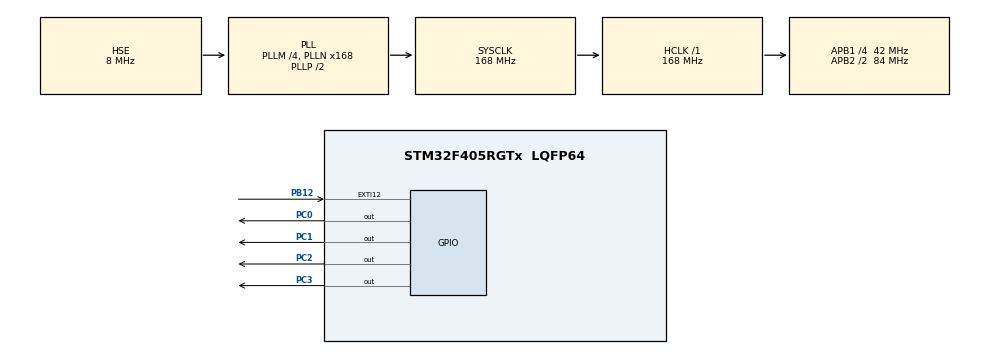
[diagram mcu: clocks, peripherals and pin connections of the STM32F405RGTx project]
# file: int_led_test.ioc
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Mcu.Family=STM32F4
Mcu.Name=STM32F405RGTx
Mcu.Package=LQFP64
NVIC.EXTI15_10_IRQn=true\:0\:0\:false\:false\:true\:true\:true
NVIC.PriorityGroup=NVIC_PRIORITYGROUP_4
PA13.Mode=Serial_Wire
PA13.Signal=SYS_JTMS-SWDIO
PA14.Mode=Serial_Wire
PA14.Signal=SYS_JTCK-SWCLK
PB12.Signal=GPXTI12
PC0.Signal=GPIO_Output
PC1.Signal=GPIO_Output
PC2.Signal=GPIO_Output
PC3.Signal=GPIO_Output
PH0-OSC_IN.Mode=HSE-External-Oscillator
PH0-OSC_IN.Signal=RCC_OSC_IN
PH1-OSC_OUT.Mode=HSE-External-Oscillator
PH1-OSC_OUT.Signal=RCC_OSC_OUT
ProjectManager.HeapSize=0x200
ProjectManager.StackSize=0x400
ProjectManager.TargetToolchain=EWARM V8.32
RCC.48MHZClocksFreq_Value=84000000
RCC.AHBFreq_Value=168000000
RCC.APB1CLKDivider=RCC_HCLK_DIV4
RCC.APB1Freq_Value=42000000
RCC.APB1TimFreq_Value=84000000
RCC.APB2CLKDivider=RCC_HCLK_DIV2
RCC.APB2Freq_Value=84000000
RCC.APB2TimFreq_Value=168000000
RCC.CortexFreq_Value=168000000
RCC.HCLKFreq_Value=168000000
RCC.HSE_VALUE=8000000
RCC.HSI_VALUE=16000000
RCC.LSE_VALUE=32768
RCC.PLLM=4
RCC.PLLN=168
RCC.PLLSourceVirtual=RCC_PLLSOURCE_HSE
RCC.SYSCLKFreq_VALUE=168000000
RCC.SYSCLKSource=RCC_SYSCLKSOURCE_PLLCLK
RCC.VCOOutputFreq_Value=336000000
board=custom

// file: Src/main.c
/* USER CODE BEGIN Header */
/**
  ******************************************************************************
  * @file           : main.c
  * @brief          : Main program body
  ******************************************************************************
  * @attention
  *
  * <h2><center>&copy; Copyright (c) 2020 STMicroelectronics.
  * All rights reserved.</center></h2>
  *
  * This software component is licensed by ST under BSD 3-Clause license,
  * the "License"; You may not use this file except in compliance with the
  * License. You may obtain a copy of the License at:
  *                        opensource.org/licenses/BSD-3-Clause
  *
  ******************************************************************************
  */
/* USER CODE END Header */

#include "main.h"
#include "gpio.h"

/* USER CODE BEGIN PV */
uint32_t ledPin[] = {1, 2, 4, 8};
uint32_t Time_s = 0;
/* USER CODE END PV */

void SystemClock_Config(void);

int main(void)
{

  /* MCU Configuration--------------------------------------------------------*/

  /* Reset of all peripherals, Initializes the Flash interface and the Systick. */
  HAL_Init();

  /* Configure the system clock */
  SystemClock_Config();

  /* Initialize all configured peripherals */
  MX_GPIO_Init();

  /* Infinite loop */
  /* USER CODE BEGIN WHILE */
  int index = 0;
  while (1)
  {
    if(Time_s == 0)
    {
      for(int i = 0; i < 4; i++)
      {
          if(i == index)
          {
              HAL_GPIO_WritePin(GPIOC, ledPin[i], GPIO_PIN_SET);
          }
          else
          {
              HAL_GPIO_WritePin(GPIOC, ledPin[i], GPIO_PIN_RESET);
          }
      }
      HAL_Delay(500);
      index++;
      if(index > 3)
      {
        index = 0;
      }
    }
    /* USER CODE END WHILE */

  }
}

void SystemClock_Config(void)
{
  RCC_OscInitTypeDef RCC_OscInitStruct = {0};
  RCC_ClkInitTypeDef RCC_ClkInitStruct = {0};

  /** Configure the main internal regulator output voltage
  */
  __HAL_RCC_PWR_CLK_ENABLE();
  __HAL_PWR_VOLTAGESCALING_CONFIG(PWR_REGULATOR_VOLTAGE_SCALE1);
  /** Initializes the CPU, AHB and APB busses clocks
  */
  RCC_OscInitStruct.OscillatorType = RCC_OSCILLATORTYPE_HSE;
  RCC_OscInitStruct.HSEState = RCC_HSE_ON;
  RCC_OscInitStruct.PLL.PLLState = RCC_PLL_ON;
  RCC_OscInitStruct.PLL.PLLSource = RCC_PLLSOURCE_HSE;
  RCC_OscInitStruct.PLL.PLLM = 4;
  RCC_OscInitStruct.PLL.PLLN = 168;
  RCC_OscInitStruct.PLL.PLLP = RCC_PLLP_DIV2;
  RCC_OscInitStruct.PLL.PLLQ = 4;
  if (HAL_RCC_OscConfig(&RCC_OscInitStruct) != HAL_OK)
  {
    Error_Handler();
  }
  /** Initializes the CPU, AHB and APB busses clocks
  */
  RCC_ClkInitStruct.ClockType = RCC_CLOCKTYPE_HCLK|RCC_CLOCKTYPE_SYSCLK
                              |RCC_CLOCKTYPE_PCLK1|RCC_CLOCKTYPE_PCLK2;
  RCC_ClkInitStruct.SYSCLKSource = RCC_SYSCLKSOURCE_PLLCLK;
  RCC_ClkInitStruct.AHBCLKDivider = RCC_SYSCLK_DIV1;
  RCC_ClkInitStruct.APB1CLKDivider = RCC_HCLK_DIV4;
  RCC_ClkInitStruct.APB2CLKDivider = RCC_HCLK_DIV2;

  if (HAL_RCC_ClockConfig(&RCC_ClkInitStruct, FLASH_LATENCY_5) != HAL_OK)
  {
    Error_Handler();
  }
}

/* USER CODE BEGIN 4 */
void HAL_GPIO_EXTI_Callback(uint16_t GPIO_Pin)
{
  if(Time_s == 0) Time_s = 1;
  else if(Time_s == 1) Time_s = 0;
}
/* USER CODE END 4 */

void Error_Handler(void)
{
}

/************************ (C) COPYRIGHT STMicroelectronics *****END OF FILE****/
